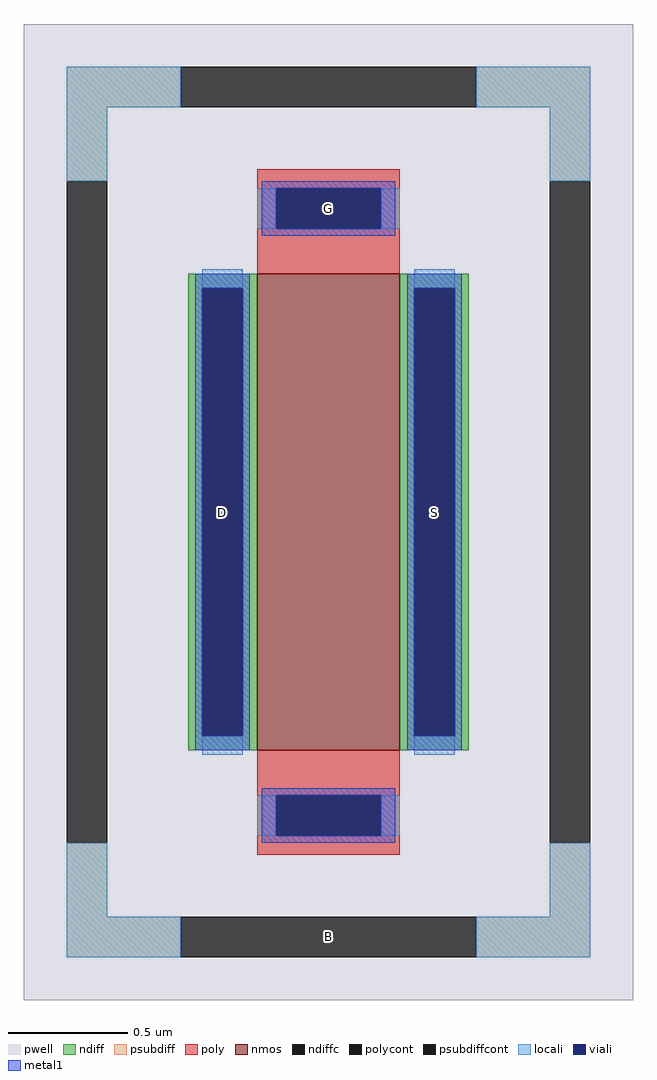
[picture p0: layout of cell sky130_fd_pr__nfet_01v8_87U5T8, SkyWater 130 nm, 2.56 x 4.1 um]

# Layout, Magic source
magic
tech sky130A
magscale 1 2
<< pwell >>
rect -256 -410 256 410
<< nmos >>
rect -60 -200 60 200
<< ndiff >>
rect -118 188 -60 200
rect -118 -188 -106 188
rect -72 -188 -60 188
rect -118 -200 -60 -188
rect 60 188 118 200
rect 60 -188 72 188
rect 106 -188 118 188
rect 60 -200 118 -188
<< ndiffc >>
rect -106 -188 -72 188
rect 72 -188 106 188
<< psubdiff >>
rect -220 340 -124 374
rect 124 340 220 374
rect -220 278 -186 340
rect 186 278 220 340
rect -220 -340 -186 -278
rect 186 -340 220 -278
rect -220 -374 -124 -340
rect 124 -374 220 -340
<< psubdiffcont >>
rect -124 340 124 374
rect -220 -278 -186 278
rect 186 -278 220 278
rect -124 -374 124 -340
<< poly >>
rect -60 272 60 288
rect -60 238 -44 272
rect 44 238 60 272
rect -60 200 60 238
rect -60 -238 60 -200
rect -60 -272 -44 -238
rect 44 -272 60 -238
rect -60 -288 60 -272
<< polycont >>
rect -44 238 44 272
rect -44 -272 44 -238
<< locali >>
rect -220 340 -124 374
rect 124 340 220 374
rect -220 278 -186 340
rect 186 278 220 340
rect -60 238 -44 272
rect 44 238 60 272
rect -106 188 -72 204
rect -106 -204 -72 -188
rect 72 188 106 204
rect 72 -204 106 -188
rect -60 -272 -44 -238
rect 44 -272 60 -238
rect -220 -340 -186 -278
rect 186 -340 220 -278
rect -220 -374 -124 -340
rect 124 -374 220 -340
<< viali >>
rect -44 238 44 272
rect -106 -188 -72 188
rect 72 -188 106 188
rect -44 -272 44 -238
<< metal1 >>
rect -56 272 56 278
rect -56 238 -44 272
rect 44 238 56 272
rect -56 232 56 238
rect -112 188 -66 200
rect -112 -188 -106 188
rect -72 -188 -66 188
rect -112 -200 -66 -188
rect 66 188 112 200
rect 66 -188 72 188
rect 106 -188 112 188
rect 66 -200 112 -188
rect -56 -238 56 -232
rect -56 -272 -44 -238
rect 44 -272 56 -238
rect -56 -278 56 -272
<< labels >>
rlabel psubdiffcont 0 -357 0 -357 0 B
port 45 nsew
rlabel ndiffc -89 0 -89 0 0 D
port 46 nsew
rlabel ndiffc 89 0 89 0 0 S
port 47 nsew
rlabel polycont 0 255 0 255 0 G
port 48 nsew
<< properties >>
string FIXED_BBOX -203 -357 203 357
string gencell sky130_fd_pr__nfet_01v8
string library sky130
string parameters w 2.0 l 0.6 m 1 nf 1 diffcov 100 polycov 100 guard 1 glc 1 grc 1 gtc 1 gbc 1 tbcov 100 rlcov 100 topc 1 botc 1 poverlap 0 doverlap 1 lmin 0.15 wmin 0.42 class mosfet compatible {sky130_fd_pr__nfet_01v8 sky130_fd_pr__nfet_01v8_lvt  sky130_fd_bs_flash__special_sonosfet_star  sky130_fd_pr__nfet_g5v0d10v5 sky130_fd_pr__nfet_05v0_nvt  sky130_fd_pr__nfet_03v3_nvt} full_metal 1 conn_gates 0 viasrc 100 viadrn 100 viagate 100 viagb 0 viagr 0 viagl 0 viagt 0 doports 1
<< end >>
